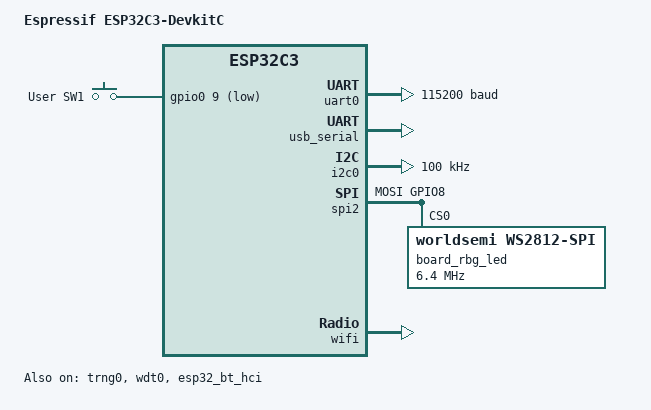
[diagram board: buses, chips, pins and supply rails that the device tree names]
/*
 * Copyright (c) 2024 Espressif Systems (Shanghai) Co., Ltd.
 *
 * SPDX-License-Identifier: Apache-2.0
 */

/dts-v1/;

#include <espressif/esp32c3/esp32c3_wroom_n4.dtsi>
#include "esp32c3_devkitc-pinctrl.dtsi"
#include <zephyr/dt-bindings/input/input-event-codes.h>
#include <espressif/partitions_0x0_default.dtsi>
#include <zephyr/dt-bindings/led/led.h>


/ {
	model = "Espressif ESP32C3-DevkitC";
	compatible = "espressif,esp32c3";

	chosen {
		zephyr,sram = &sram1;
		zephyr,console = &uart0;
		zephyr,shell-uart = &uart0;
		zephyr,flash = &flash0;
		zephyr,code-partition = &slot0_partition;
		zephyr,bt-hci = &esp32_bt_hci;
	};

	aliases {
		sw0 = &user_button1;
		i2c-0 = &i2c0;
		watchdog0 = &wdt0;
		app-led = &board_rbg_led;

	};

	gpio_keys {
		compatible = "gpio-keys";
		user_button1: button_1 {
			label = "User SW1";
			gpios = <&gpio0 9 (GPIO_PULL_UP | GPIO_ACTIVE_LOW)>;
			zephyr,code = <INPUT_KEY_0>;
		};
	};
};

&uart0 {
	status = "okay";
	current-speed = <115200>;
	pinctrl-0 = <&uart0_default>;
	pinctrl-names = "default";
};

&usb_serial {
	/* requires resoldering of resistors on the board */
	status = "okay";
};

&i2c0 {
	status = "okay";
	clock-frequency = <I2C_BITRATE_STANDARD>;
	pinctrl-0 = <&i2c0_default>;
	pinctrl-names = "default";
};

&trng0 {
	status = "okay";
};

&spi2 {
	#address-cells = <1>;
	#size-cells = <0>;
	status = "okay";
	pinctrl-0 = <&spim2_default>;
	pinctrl-names = "default";
};

&gpio0 {
	status = "okay";
};

&wdt0 {
	status = "okay";
};

&timer0 {
	status = "disabled";
};

&timer1 {
	status = "disabled";
};

&twai {
	/* requires external CAN transceiver or jumper on RX and TX pins for loopback testing */
	status = "disabled";
	pinctrl-0 = <&twai_default>;
	pinctrl-names = "default";
};

&esp32_bt_hci {
	status = "okay";
};

&wifi {
	status = "okay";
};

&pinctrl {
	spim2_default: spim2_default {
		group2 {
			pinmux = <SPIM2_MOSI_GPIO8>;
		};
	};
};


&spi2 {
	/* Workaround to support WS2812 driver */
	line-idle-low;

	board_rbg_led: ws2812@0 {
		compatible = "worldsemi,ws2812-spi";

		/* SPI */
		reg = <0>; /* ignored, but necessary for SPI bindings */
		spi-max-frequency = <6400000>;

		/* WS2812 */
		chain-length = <1>; /* arbitrary; change at will */
		spi-cpha;
		spi-one-frame = <0xf0>; /* 11110000: 625 ns high and 625 ns low */
		spi-zero-frame = <0xc0>; /* 11000000: 312.5 ns high and 937.5 ns low */
		color-mapping = <LED_COLOR_ID_GREEN
				 LED_COLOR_ID_RED
				 LED_COLOR_ID_BLUE>;
	};
};
